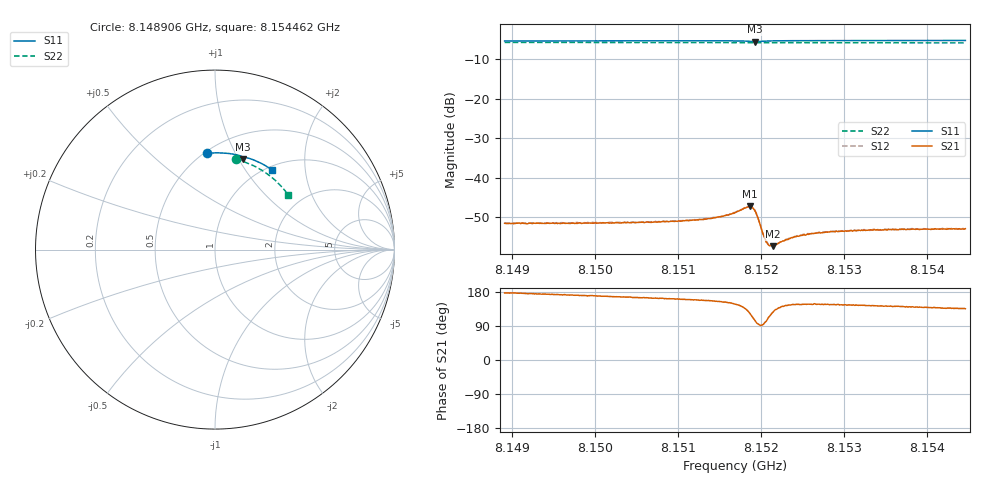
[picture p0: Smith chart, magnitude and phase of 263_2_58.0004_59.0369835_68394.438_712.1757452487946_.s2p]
#  HZ  S  RI  R  50.00
! Rohde & Schwarz Vector Network Analyzer
! Rohde-Schwarz,ZNB20-2Port,1311601062101988,3.16
! Created: UTC 3/21/2024, 1:02:03 AM
! freq[Hz]  re:S11  im:S11  re:S21  im:S21  re:S12  im:S12  re:S22  im:S22
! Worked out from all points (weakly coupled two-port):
!   401 points, 8.148906 GHz to 8.154462 GHz, reference 50 ohm
!   highest |S21| = -47.26 dB at 8.151864 GHz (marker M1); lowest = -57.4 dB at 8.152142 GHz (marker M2)
!   lowest |S11| = -5.5 dB at 8.15192 GHz (marker M3), VSWR 3.24, Z = 37.3 + j52.3 ohm
!   |S11| at or under -10 dB: nowhere
!   |S22| runs from -5.9 to -5.7 dB; largest |S21 - S12| = 0.00012
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8.1489055e9  -0.0467 0.536  -0.00264 0.000135  -0.00269 0.000164  0.1171 0.5023
8.1498362e9  0.0182 0.5393  -0.00258 0.00045  -0.00264 0.000502  0.1749 0.4845
8.1507669e9  0.083 0.5345  -0.00263 0.000833  -0.00264 0.000893  0.23 0.4598
8.1513087e9  0.1214 0.5278  -0.00274 0.00114  -0.00277 0.0012  0.2604 0.4425
8.151517e9  0.1362 0.5239  -0.00289 0.0014  -0.0029 0.00145  0.2716 0.4351
8.1516837e9  0.1488 0.5192  -0.00306 0.00193  -0.00305 0.00196  0.2806 0.4292
8.1518226e9  0.1585 0.5113  -0.00287 0.00308  -0.00284 0.00318  0.2878 0.4238
8.1518643e9  0.1593 0.5078  -0.00233 0.00365  -0.0023 0.00367  0.29 0.4223
8.1518921e9  0.1585 0.5057  -0.00175 0.00384  -0.00171 0.00385  0.2913 0.4212
8.1519199e9  0.157 0.5048  -0.00105 0.00374  -0.000974 0.00378  0.2926 0.4203
8.1519476e9  0.1556 0.5058  -0.000414 0.00332  -0.000408 0.00336  0.2939 0.4193
8.152031e9  0.1585 0.5112  -0.000165 0.00184  -0.000162 0.00184  0.2982 0.4165
8.1520588e9  0.161 0.5122  -0.000312 0.0015  -0.00036 0.00156  0.2997 0.4154
8.1520727e9  0.1621 0.5127  -0.000419 0.00142  -0.00041 0.00145  0.3005 0.4147
8.1521004e9  0.1647 0.513  -0.000586 0.00124  -0.000553 0.00128  0.302 0.4137
8.1521421e9  0.1682 0.5131  -0.000804 0.00109  -0.000804 0.00112  0.3041 0.4122
8.1523783e9  0.1867 0.5095  -0.00145 0.000955  -0.00143 0.00101  0.316 0.4027
8.1524338e9  0.1906 0.5083  -0.00152 0.000994  -0.00154 0.00102  0.3187 0.4004
8.1526144e9  0.2032 0.5039  -0.00164 0.00108  -0.00164 0.00108  0.3278 0.393
8.1529061e9  0.2225 0.4965  -0.00175 0.00119  -0.00173 0.00118  0.3415 0.3805
8.1535451e9  0.2629 0.4775  -0.00174 0.00137  -0.00175 0.00137  0.3701 0.3515
8.1544619e9  0.3173 0.4448  -0.0016 0.00159  -0.00157 0.00161  0.4067 0.3062
